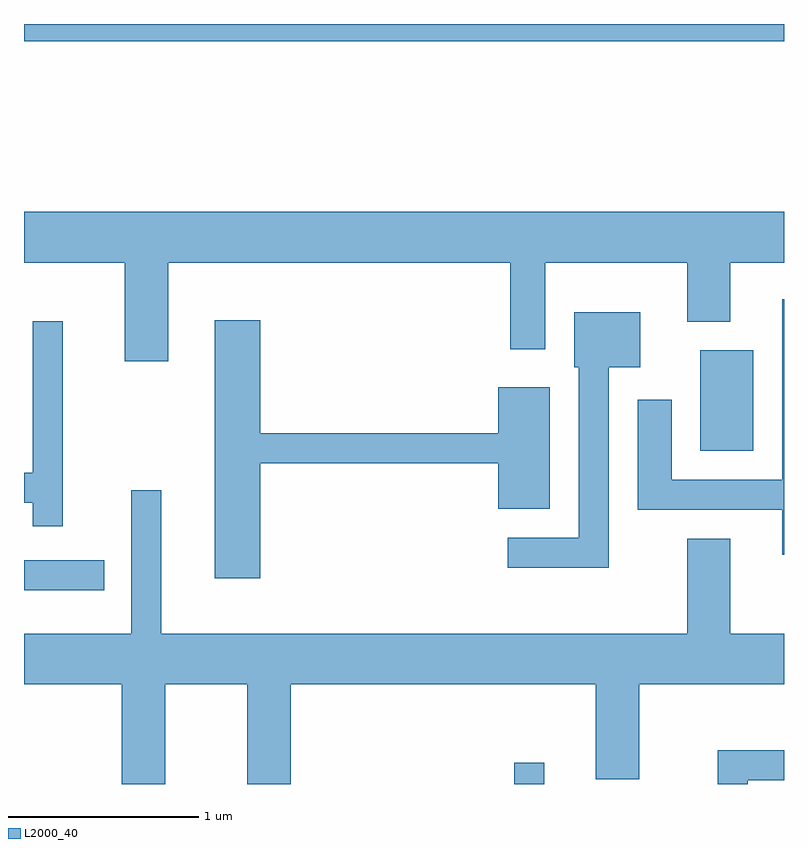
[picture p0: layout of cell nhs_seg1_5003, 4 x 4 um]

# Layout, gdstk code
import gdstk
lib = gdstk.Library(unit=1e-6, precision=1e-09)
def R(c, l, rs):  # rectangles x0, y0, x1, y1
    for r in rs: c.add(gdstk.rectangle(r[:2], r[2:], *l))
def P(c, l, *ps):  # polygons
    for p in ps: c.add(gdstk.Polygon(p, *l))
L2000_40 = (2000, 40)

nhs_seg1_5003 = lib.new_cell('nhs_seg1_5003')
R(nhs_seg1_5003, L2000_40, [(338.191,905.712,338.349,905.823), (335.611,906.731,336.033,906.889), (339.171,907.466,339.449,907.994), (335.611,909.621,339.611,909.712)])
P(nhs_seg1_5003, L2000_40, [(336.369,908.456),(338.171,908.456),(338.171,908.001),(338.354,908.001),(338.354,908.456),(339.101,908.456),(339.101,908.146),(339.329,908.146),(339.329,908.456),(339.611,908.456),(339.611,908.724),(335.611,908.724),(335.611,908.456),(336.141,908.456),(336.141,907.936),(336.369,907.936)],
  [(339.611,908.263),(339.601,908.263),(339.601,907.314),(339.019,907.314),(339.019,907.734),(338.841,907.734),(338.841,907.156),(339.601,907.156),(339.601,906.918),(339.611,906.918)],
  [(338.689,907.906),(338.854,907.906),(338.854,908.194),(338.506,908.194),(338.506,907.906),(338.531,907.906),(338.531,907.009),(338.158,907.009),(338.158,906.851),(338.689,906.851)],
  [(336.854,907.401),(338.106,907.401),(338.106,907.161),(338.379,907.161),(338.379,907.799),(338.106,907.799),(338.106,907.559),(336.854,907.559),(336.854,908.154),(336.616,908.154),(336.616,906.796),(336.854,906.796)],
  [(335.814,908.148),(335.656,908.148),(335.656,907.349),(335.611,907.349),(335.611,907.191),(335.656,907.191),(335.656,907.068),(335.814,907.068)],
  [(336.354,906.236),(336.786,906.236),(336.786,905.712),(337.014,905.712),(337.014,906.236),(338.621,906.236),(338.621,905.736),(338.849,905.736),(338.849,906.236),(339.611,906.236),(339.611,906.504),(339.329,906.504),(339.329,907.004),(339.101,907.004),(339.101,906.504),(336.334,906.504),(336.334,907.258),(336.176,907.258),(336.176,906.504),(335.611,906.504),(335.611,906.236),(336.126,906.236),(336.126,905.712),(336.354,905.712)],
  [(339.419,905.731),(339.611,905.731),(339.611,905.889),(339.261,905.889),(339.261,905.712),(339.419,905.712)])

lib.write_gds('nhs_seg1_5003.gds')
